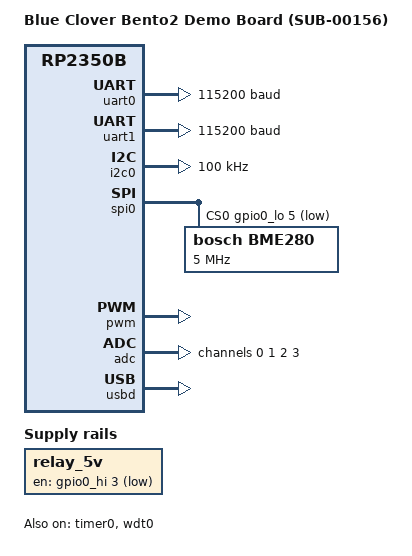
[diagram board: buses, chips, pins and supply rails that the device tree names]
/*
 * Copyright (c) 2026 Blue Clover Devices
 *
 * SPDX-License-Identifier: Apache-2.0
 */

/dts-v1/;

#include <raspberrypi/rpi_pico/rp2350b.dtsi>
#include <raspberrypi/rpi_pico/m33.dtsi>

#include <freq.h>
#include <zephyr/dt-bindings/i2c/i2c.h>
#include <zephyr/dt-bindings/led/led.h>
#include <zephyr/dt-bindings/pwm/pwm.h>

#include "bento2-pinctrl.dtsi"

/ {
	model = "Blue Clover Bento2 Demo Board (SUB-00156)";
	compatible = "blueclover,bento2";

	chosen {
		zephyr,sram = &sram0;
		zephyr,flash = &flash0;
		zephyr,flash-controller = &qmi;
		zephyr,console = &uart0;
		zephyr,shell-uart = &uart0;
		zephyr,code-partition = &code_partition;
	};

	aliases {
		watchdog0 = &wdt0;
		led-strip = &ws2812;
		pwm-buzzer = &pwm;
	};

	/*
	 * RGB_5V_IN power enable via signal relay (ULN2803 + K1).
	 * Driven by RP_S1 = GPIO35 (pin 44). The Darlington inverts, so the
	 * relay coil energizes when the GPIO is high; the enable-gpios flag
	 * is ACTIVE_HIGH from the MCU's perspective for a powered rail.
	 */
	relay_5v: relay-5v {
		compatible = "regulator-fixed";
		regulator-name = "relay_5v";
		enable-gpios = <&gpio0_hi 3 GPIO_ACTIVE_LOW>;
		regulator-boot-on;
	};

};

/*
 * mikroBUS click socket summary (discrete GPIOs only; SPI, I2C, UART
 * and PWM are exposed through their bus controllers above):
 *
 *   Click pin   Signal         RP2350 GPIO
 *   ---------   ------------   -----------
 *   AN          AN1            GP40 (ADC0)
 *   RST         click reset    GP46 (RP_S3) -- assumption, verify
 *   CS          SPI chip sel   GP13 (RP_CS_RTS1)
 *   INT         click IRQ      GP10 (SCI1_RTS / INT_CTS1)
 *
 * The RST line on the schematic is a shared "RST" net; on SUB-00156 it
 * is driven from the ESP32-C3 block (ESP32-C3-RST). With the ESP32 off,
 * RST must come from an RP GPIO -- RP_S3 = GP46 is the closest unused
 * spare-signal pin. Cross-check against the PCB netlist before relying
 * on this in firmware.
 */

&flash0 {
	reg = <0x10000000 DT_SIZE_M(4)>;

	partitions {
		compatible = "fixed-partitions";
		#address-cells = <1>;
		#size-cells = <1>;

		/* Image definition block at start of flash */
		image_def: partition@0 {
			label = "image_def";
			reg = <0x00000000 0x100>;
			read-only;
		};

		/* Usable code partition */
		code_partition: partition@100 {
			label = "code-partition";
			reg = <0x100 (DT_SIZE_M(4) - 0x100)>;
			read-only;
		};
	};
};

/* UART0: console on GP18/GP19 (SCI3_TXD / SCI3_RXD). */
&uart0 {
	current-speed = <115200>;
	status = "okay";
	pinctrl-0 = <&uart0_default>;
	pinctrl-names = "default";
};

/* UART1: mikroBUS click UART on GP8/GP9 with CTS/RTS on GP10/GP11. */
&uart1 {
	current-speed = <115200>;
	status = "okay";
	pinctrl-0 = <&uart1_default>;
	pinctrl-names = "default";
	hw-flow-control;
};

gpio0_lo: &gpio0 {
	status = "okay";
};

&gpio0_hi {
	status = "okay";
};

/*
 * I2C0 (SENS_I2C): BME280-adjacent I2C, both Qwiic connectors and the
 * mikroBUS click I2C pins share this bus. External 10k pull-ups on the
 * Qwiic sheet hold SDA/SCL.
 */
&i2c0 {
	clock-frequency = <I2C_BITRATE_STANDARD>;
	pinctrl-0 = <&i2c0_default>;
	pinctrl-names = "default";
	status = "okay";
};

/*
 * SPI0 (SENS_SPI): SCK=GP6, MOSI=GP7, MISO=GP4.
 * BME280 CS=GP5 (RP_SPIS_SS), mikroBUS click CS=GP13 (RP_CS_RTS1).
 */
&spi0 {
	pinctrl-0 = <&spi0_default>;
	pinctrl-names = "default";
	cs-gpios = <&gpio0_lo 5 GPIO_ACTIVE_LOW>,
		   <&gpio0_lo 13 GPIO_ACTIVE_LOW>;
	status = "okay";

	bme280: bme280@0 {
		compatible = "bosch,bme280";
		reg = <0>;
		spi-max-frequency = <5000000>;
	};
};

/*
 * PWM peripheral. Channels used:
 *   6B  (GP29) -> buzzer AUDIO_IN
 *   11B (GP39) -> mikroBUS PWM1
 */
&pwm {
	pinctrl-0 = <&pwm_ch6b_default>, <&pwm_ch11b_default>;
	pinctrl-names = "default";
	status = "okay";
};

/*
 * ADC: channels 0..3 are wired to GP40..GP43 (RP2350B ADC AIN0..3).
 * ADC0 is shared with mikroBUS AN1; the others are available on test
 * points / expansion use.
 */
&adc {
	status = "okay";
	#address-cells = <1>;
	#size-cells = <0>;

	channel@0 {
		reg = <0>;
		zephyr,gain = "ADC_GAIN_1";
		zephyr,reference = "ADC_REF_INTERNAL";
		zephyr,acquisition-time = <ADC_ACQ_TIME_DEFAULT>;
		zephyr,resolution = <12>;
	};

	channel@1 {
		reg = <1>;
		zephyr,gain = "ADC_GAIN_1";
		zephyr,reference = "ADC_REF_INTERNAL";
		zephyr,acquisition-time = <ADC_ACQ_TIME_DEFAULT>;
		zephyr,resolution = <12>;
	};

	channel@2 {
		reg = <2>;
		zephyr,gain = "ADC_GAIN_1";
		zephyr,reference = "ADC_REF_INTERNAL";
		zephyr,acquisition-time = <ADC_ACQ_TIME_DEFAULT>;
		zephyr,resolution = <12>;
	};

	channel@3 {
		reg = <3>;
		zephyr,gain = "ADC_GAIN_1";
		zephyr,reference = "ADC_REF_INTERNAL";
		zephyr,acquisition-time = <ADC_ACQ_TIME_DEFAULT>;
		zephyr,resolution = <12>;
	};
};

&timer0 {
	status = "okay";
};

&wdt0 {
	status = "okay";
};

zephyr_udc0: &usbd {
	status = "okay";
};

/*
 * PIO1 drives the WS2812-compatible RGB LED (LTST-E683CEGBW) via a
 * SN74LVC1G125 level shifter on GPIO36 (RP_S2 / RGB_D_IN).
 */
&pio1 {
	status = "okay";

	pio-ws2812 {
		compatible = "worldsemi,ws2812-rpi_pico-pio";
		status = "okay";
		pinctrl-0 = <&pio1_ws2812_default>;
		pinctrl-names = "default";
		bit-waveform = <3>, <3>, <4>;

		ws2812: ws2812 {
			status = "okay";
			gpios = <&gpio0_hi 4 GPIO_ACTIVE_HIGH>;
			chain-length = <1>;
			color-mapping = <LED_COLOR_ID_GREEN
					 LED_COLOR_ID_RED
					 LED_COLOR_ID_BLUE>;
			reset-delay = <280>;
			frequency = <800000>;
		};
	};
};
